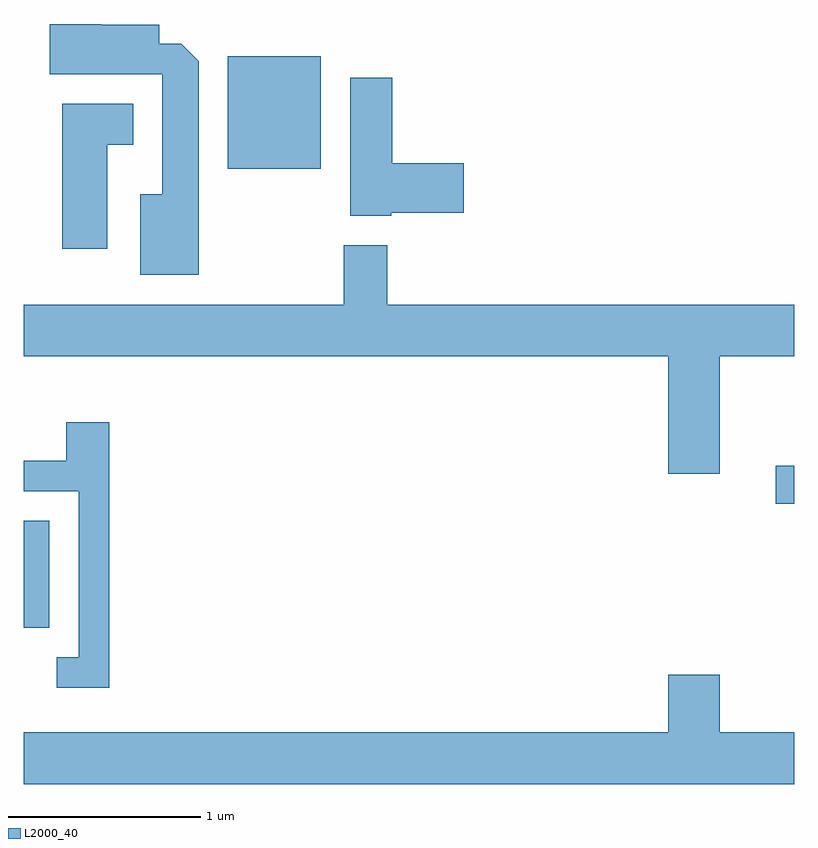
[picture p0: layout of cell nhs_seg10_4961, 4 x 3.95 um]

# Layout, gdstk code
import gdstk
lib = gdstk.Library(unit=1e-6, precision=1e-09)
def R(c, l, rs):  # rectangles x0, y0, x1, y1
    for r in rs: c.add(gdstk.rectangle(r[:2], r[2:], *l))
def P(c, l, *ps):  # polygons
    for p in ps: c.add(gdstk.Polygon(p, *l))
L2000_40 = (2000, 40)

nhs_seg10_4961 = lib.new_cell('nhs_seg10_4961')
R(nhs_seg10_4961, L2000_40, [(331.611,2121.386,331.744,2121.944), (335.516,2122.031,335.611,2122.229), (332.671,2123.771,333.154,2124.354)])
P(nhs_seg10_4961, L2000_40, [(332.519,2124.329),(332.429,2124.419),(332.314,2124.419),(332.314,2124.519),(332.014,2124.519),(332.014,2124.522),(331.746,2124.522),(331.746,2124.261),(332.331,2124.261),(332.331,2123.639),(332.216,2123.639),(332.216,2123.221),(332.519,2123.221)],
  [(333.52,2123.541),(333.894,2123.541),(333.894,2123.799),(333.524,2123.799),(333.524,2124.244),(333.306,2124.244),(333.306,2123.526),(333.52,2123.526)],
  [(332.044,2123.896),(332.179,2123.896),(332.179,2124.109),(331.811,2124.109),(331.811,2123.356),(332.044,2123.356)],
  [(335.224,2122.796),(335.611,2122.796),(335.611,2123.064),(333.499,2123.064),(333.499,2123.374),(333.271,2123.374),(333.271,2123.064),(331.611,2123.064),(331.611,2122.796),(334.956,2122.796),(334.956,2122.186),(335.224,2122.186)],
  [(332.054,2122.454),(331.831,2122.454),(331.831,2122.254),(331.611,2122.254),(331.611,2122.096),(331.896,2122.096),(331.896,2121.234),(331.783,2121.234),(331.783,2121.076),(332.054,2121.076)],
  [(335.611,2120.844),(335.224,2120.844),(335.224,2121.144),(334.956,2121.144),(334.956,2120.844),(331.611,2120.844),(331.611,2120.576),(335.611,2120.576)])

lib.write_gds('nhs_seg10_4961.gds')
